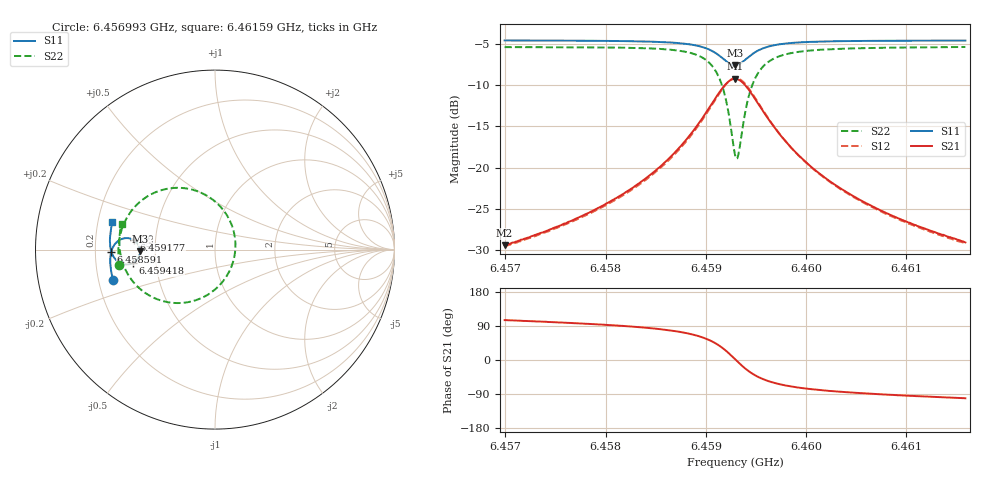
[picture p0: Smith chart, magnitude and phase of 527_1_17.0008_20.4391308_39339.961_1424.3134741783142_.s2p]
#  HZ  S  RI  R  50.00
! Rohde & Schwarz Vector Network Analyzer
! Rohde-Schwarz,ZNB20-2Port,1311601062101988,3.16
! Created: UTC 3/20/2024, 11:15:44 PM
! freq[Hz]  re:S11  im:S11  re:S21  im:S21  re:S12  im:S12  re:S22  im:S22
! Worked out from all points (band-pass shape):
!   401 points, 6.456993 GHz to 6.46159 GHz, reference 50 ohm
!   highest |S21| = -9.21 dB at 6.459292 GHz (marker M1); lowest = -29.5 dB at 6.456993 GHz (marker M2)
!   |S21| within 3 dB of the highest: 6.459062 GHz to 6.459522 GHz (459.3 kHz wide, 0.00711 % of centre)
!   lowest |S11| = -7.6 dB at 6.459292 GHz (marker M3), VSWR 2.44, Z = 20.5 - j0.461 ohm
!   |S11| at or under -10 dB: nowhere
!   |S22| runs from -18.9 to -5.3 dB; largest |S21 - S12| = 0.014
!   S11 on the Smith chart (normalised r, x): 6.456993 GHz: 0.26, -0.14; 6.458591 GHz: 0.27, -0.01; 6.459177 GHz: 0.37, +0.05; 6.459418 GHz: 0.37, -0.07; 6.46159 GHz: 0.26, +0.12
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6.456993e9  -0.567 -0.1711  -0.00883 0.0324  -0.00716 0.0325  -0.533 -0.0833
6.457763e9  -0.5809 -0.1037  -0.00547 0.0504  -0.00298 0.0499  -0.5381 0.00675
6.4581883e9  -0.5838 -0.061  0.000414 0.0698  0.00377 0.0685  -0.5299 0.0743
6.4585331e9  -0.5798 -0.0198  0.0144 0.0987  0.0184 0.096  -0.5042 0.152
6.4585906e9  -0.578 -0.0118  0.0187 0.1057  0.0229 0.1026  -0.4961 0.1687
6.4587975e9  -0.565 0.0201  0.0465 0.1381  0.0504 0.1332  -0.444 0.2414
6.4589469e9  -0.5423 0.0466  0.0918 0.1685  0.0949 0.1618  -0.3604 0.3057
6.4590848e9  -0.4984 0.0639  0.179 0.1851  0.1799 0.1777  -0.2007 0.3444
6.4591767e9  -0.4539 0.0537  0.2691 0.1537  0.2692 0.1478  -0.0339 0.2935
6.4592457e9  -0.4248 0.0218  0.3296 0.0817  0.3318 0.0764  0.0817 0.1637
6.4592917e9  -0.4178 -0.00926  0.3459 0.0135  0.3496 0.00656  0.1139 0.0362
6.4593032e9  -0.4184 -0.0175  0.3457 -0.00416  0.3497 -0.0118  0.1135 0.0024
6.4593262e9  -0.4219 -0.033  0.34 -0.039  0.344 -0.0481  0.1022 -0.0637
6.4593721e9  -0.4375 -0.0592  0.3112 -0.0989  0.3136 -0.111  0.0441 -0.1771
6.4594181e9  -0.4596 -0.0755  0.2691 -0.1401  0.2683 -0.1533  -0.0415 -0.2522
6.4595101e9  -0.5031 -0.0823  0.1839 -0.1711  0.1778 -0.1827  -0.2111 -0.2979
6.4596595e9  -0.5469 -0.0618  0.096 -0.1571  0.0875 -0.1633  -0.379 -0.2477
6.4598204e9  -0.5683 -0.0341  0.0511 -0.1289  0.0435 -0.1318  -0.4595 -0.1751
6.4600618e9  -0.5811 0.00153  0.022 -0.0973  0.0163 -0.0979  -0.5073 -0.0927
6.4604181e9  -0.5855 0.0438  0.00583 -0.0698  0.00177 -0.0693  -0.5289 -0.011
6.4608318e9  -0.5836 0.0853  -0.00156 -0.0518  -0.00444 -0.0511  -0.5327 0.0551
6.4615904e9  -0.5713 0.1525  -0.00667 -0.0344  -0.00838 -0.0337  -0.5209 0.1449
